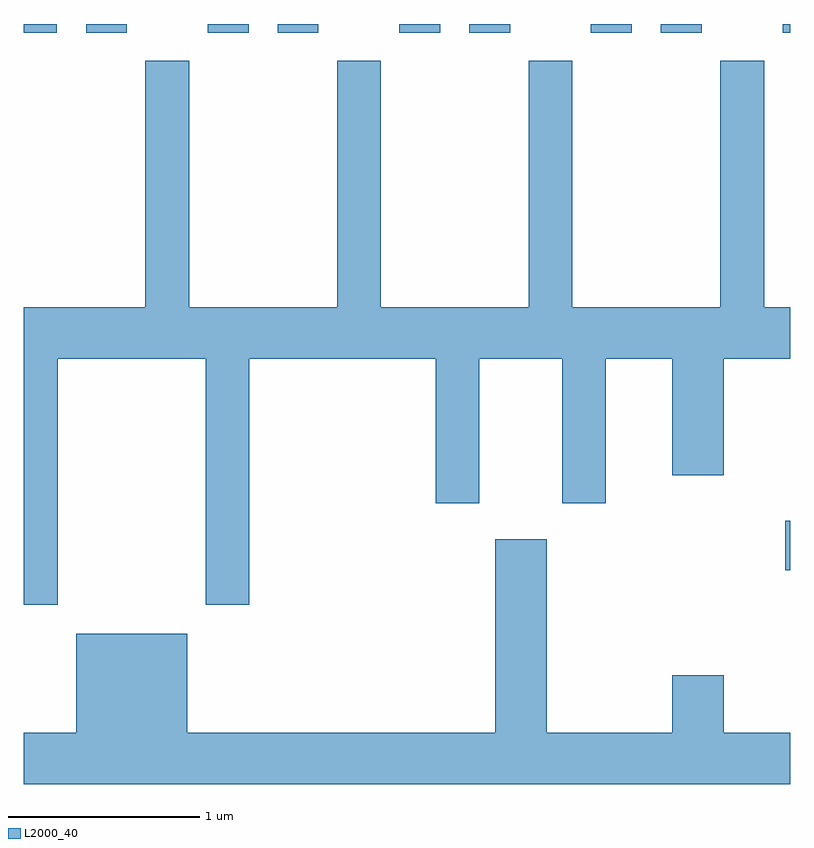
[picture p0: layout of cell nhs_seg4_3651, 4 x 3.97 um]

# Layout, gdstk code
import gdstk
lib = gdstk.Library(unit=1e-6, precision=1e-09)
def R(c, l, rs):  # rectangles x0, y0, x1, y1
    for r in rs: c.add(gdstk.rectangle(r[:2], r[2:], *l))
def P(c, l, *ps):  # polygons
    for p in ps: c.add(gdstk.Polygon(p, *l))
L2000_40 = (2000, 40)

nhs_seg4_3651 = lib.new_cell('nhs_seg4_3651')
R(nhs_seg4_3651, L2000_40, [(295.586,1349.131,295.611,1349.389), (291.611,1351.936,291.784,1351.982), (291.936,1351.936,292.149,1351.982), (292.571,1351.936,292.784,1351.982), (292.936,1351.936,293.149,1351.982), (293.571,1351.936,293.784,1351.982), (293.936,1351.936,294.149,1351.982), (294.571,1351.936,294.784,1351.982), (294.936,1351.936,295.149,1351.982), (295.571,1351.936,295.611,1351.982)])
P(nhs_seg4_3651, L2000_40, [(294.474,1351.789),(294.246,1351.789),(294.246,1350.504),(293.474,1350.504),(293.474,1351.789),(293.246,1351.789),(293.246,1350.504),(292.474,1350.504),(292.474,1351.789),(292.246,1351.789),(292.246,1350.504),(291.611,1350.504),(291.611,1348.951),(291.789,1348.951),(291.789,1350.236),(292.561,1350.236),(292.561,1348.951),(292.789,1348.951),(292.789,1350.236),(293.761,1350.236),(293.761,1349.481),(293.989,1349.481),(293.989,1350.236),(294.421,1350.236),(294.421,1349.481),(294.649,1349.481),(294.649,1350.236),(294.996,1350.236),(294.996,1349.626),(295.264,1349.626),(295.264,1350.236),(295.611,1350.236),(295.611,1350.504),(295.474,1350.504),(295.474,1351.789),(295.246,1351.789),(295.246,1350.504),(294.474,1350.504)],
  [(295.611,1348.284),(295.264,1348.284),(295.264,1348.584),(294.996,1348.584),(294.996,1348.284),(294.339,1348.284),(294.339,1349.294),(294.071,1349.294),(294.071,1348.284),(292.464,1348.284),(292.464,1348.799),(291.886,1348.799),(291.886,1348.284),(291.611,1348.284),(291.611,1348.016),(295.611,1348.016)])

lib.write_gds('nhs_seg4_3651.gds')
